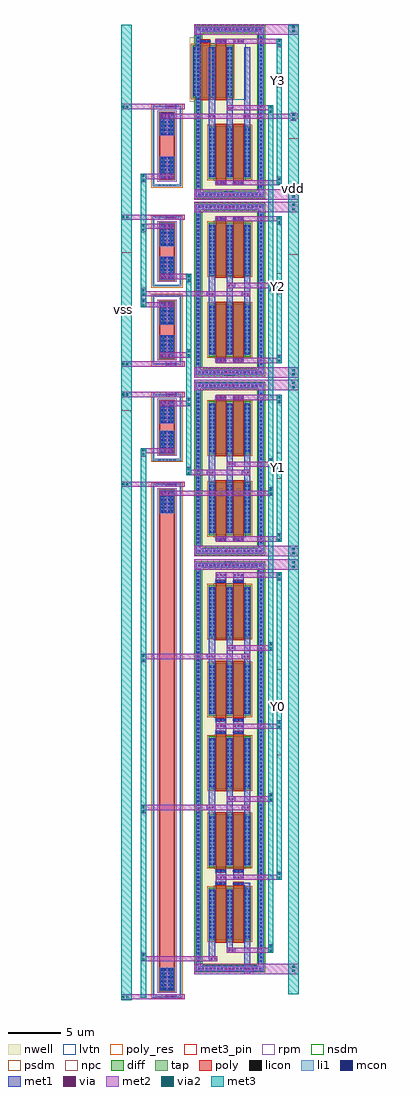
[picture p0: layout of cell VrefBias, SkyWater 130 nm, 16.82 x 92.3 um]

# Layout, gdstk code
from math import pi, radians
import gdstk
lib = gdstk.Library(unit=1e-6, precision=5e-09)
def R(c, l, rs):  # rectangles x0, y0, x1, y1
    for r in rs: c.add(gdstk.rectangle(r[:2], r[2:], *l))
def A(c, l, x, y, w, h, nx, ny, dx, dy):  # array of equal rectangles
    R(c, l, [(x+i*dx, y+j*dy, x+i*dx+w, y+j*dy+h) for i in range(nx) for j in range(ny)])
def P(c, l, *ps):  # polygons
    for p in ps: c.add(gdstk.Polygon(p, *l))
nwell = (64, 20)
diff = (65, 20)
tap = (65, 44)
poly_res = (66, 13)
poly = (66, 20)
licon = (66, 44)
li1 = (67, 20)
mcon = (67, 44)
met1 = (68, 20)
via = (68, 44)
met2 = (69, 20)
via2 = (69, 44)
met3_pin = (70, 16)
met3 = (70, 20)
rpm = (86, 20)
nsdm = (93, 44)
psdm = (94, 20)
npc = (95, 20)
lvtn = (125, 44)

res_poly_2 = lib.new_cell('res_poly$2')
R(res_poly_2, tap, [(-1.355,-24.31,1.355,-24.14), (-1.355,-24.14,-1.185,24.14), (1.185,-24.14,1.355,24.14), (-1.355,24.14,1.355,24.31)])
R(res_poly_2, poly_res, [(-0.705,-21.56,0.705,21.56)])
R(res_poly_2, poly, [(-0.705,-23.66,0.705,23.66)])
A(res_poly_2, licon, -0.765, -24.31, 0.17, 0.17, 5, 2, 0.34, 48.45)
A(res_poly_2, licon, -1.355, -23.545, 0.17, 0.17, 1, 139, 0, 0.34)
A(res_poly_2, licon, 1.185, -23.545, 0.17, 0.17, 1, 139, 0, 0.34)
R(res_poly_2, licon, [(-0.45,-23.58,-0.26,-21.58), (0.26,-23.58,0.45,-21.58), (-0.45,21.58,-0.26,23.58), (0.26,21.58,0.45,23.58)])
R(res_poly_2, li1, [(-1.355,-24.31,1.355,-24.14), (-1.355,-24.14,-1.185,24.14), (1.185,-24.14,1.355,24.14), (-0.705,-23.66,0.705,-21.5), (-0.705,21.5,0.705,23.66), (-1.355,24.14,1.355,24.31)])
A(res_poly_2, mcon, -0.625, -23.56, 0.17, 0.17, 4, 6, 0.36, 0.36)
A(res_poly_2, mcon, -0.625, 21.595, 0.17, 0.17, 4, 6, 0.36, 0.36)
R(res_poly_2, met1, [(-0.655,-23.63,0.655,-21.525), (-0.655,21.525,0.655,23.63)])
R(res_poly_2, rpm, [(-0.905,-23.86,0.905,23.86)])
R(res_poly_2, psdm, [(-1.48,-24.435,1.48,24.435)])
R(res_poly_2, npc, [(-0.8,-23.755,0.8,23.755)])

guard_ring_gen = lib.new_cell('guard_ring_gen')
P(guard_ring_gen, tap, [(-0.5,-0.5),(-0.5,15.145),(0,15.145),(0,0),(5.44,0),(5.44,15.145),(-0.5,15.145),(-0.5,15.645),(5.94,15.645),(5.94,-0.5)])
A(guard_ring_gen, licon, -0.245, -0.335, 0.17, 0.17, 17, 2, 0.36, 15.645)
A(guard_ring_gen, licon, -0.335, 0.47, 0.17, 0.17, 1, 40, 0, 0.36)
A(guard_ring_gen, licon, 5.605, 0.47, 0.17, 0.17, 1, 40, 0, 0.36)
P(guard_ring_gen, li1, [(-0.5,-0.5),(-0.5,15.145),(0,15.145),(0,0),(5.44,0),(5.44,15.145),(-0.5,15.145),(-0.5,15.645),(5.94,15.645),(5.94,-0.5)])
A(guard_ring_gen, mcon, -0.245, -0.335, 0.17, 0.17, 17, 2, 0.36, 15.645)
A(guard_ring_gen, mcon, -0.335, 0.47, 0.17, 0.17, 1, 40, 0, 0.36)
A(guard_ring_gen, mcon, 5.605, 0.47, 0.17, 0.17, 1, 40, 0, 0.36)
P(guard_ring_gen, met1, [(-0.5,-0.5),(-0.5,15.145),(0,15.145),(0,0),(5.44,0),(5.44,15.145),(-0.5,15.145),(-0.5,15.645),(5.94,15.645),(5.94,-0.5)])
P(guard_ring_gen, nsdm, [(-0.625,-0.625),(-0.625,15.02),(0.125,15.02),(0.125,0.125),(5.315,0.125),(5.315,15.02),(-0.625,15.02),(-0.625,15.77),(6.065,15.77),(6.065,-0.625)])

pfet = lib.new_cell('pfet')
R(pfet, nwell, [(-0.305,-0.38,2.625,5.72)])
R(pfet, diff, [(0,0,2.32,5)])
R(pfet, poly, [(0.66,-0.2,1.66,5.2), (0.66,5.2,1.66,5.53)])
A(pfet, licon, 0.065, 0.255, 0.17, 0.17, 1, 13, 0, 0.36)
A(pfet, licon, 0.425, 0.255, 0.17, 0.17, 1, 13, 0, 0.36)
A(pfet, licon, 1.725, 0.255, 0.17, 0.17, 1, 13, 0, 0.36)
A(pfet, licon, 2.085, 0.255, 0.17, 0.17, 1, 13, 0, 0.36)
A(pfet, licon, 0.715, 5.28, 0.17, 0.17, 3, 1, 0.36, 0)
R(pfet, li1, [(0.065,0.175,0.595,4.825), (1.725,0.175,2.255,4.825), (0.635,5.28,1.685,5.45)])
A(pfet, mcon, 0.065, 0.255, 0.17, 0.17, 1, 13, 0, 0.36)
A(pfet, mcon, 0.425, 0.255, 0.17, 0.17, 1, 13, 0, 0.36)
A(pfet, mcon, 1.725, 0.255, 0.17, 0.17, 1, 13, 0, 0.36)
A(pfet, mcon, 2.085, 0.255, 0.17, 0.17, 1, 13, 0, 0.36)
A(pfet, mcon, 0.715, 5.28, 0.17, 0.17, 3, 1, 0.36, 0)
R(pfet, met1, [(0.035,0.195,0.625,4.805), (1.695,0.195,2.285,4.805), (0.655,5.25,1.665,5.48)])
R(pfet, psdm, [(-0.125,-0.125,2.445,5.125)])
R(pfet, npc, [(0.65,5.19,1.67,5.54)])
R(pfet, lvtn, [(0.48,-0.18,1.84,5.18)])

vias_gen_6 = lib.new_cell('vias_gen$6')
R(vias_gen_6, met2, [(0,0,0.8,0.5)])
R(vias_gen_6, via2, [(0.1,0.15,0.3,0.35), (0.5,0.15,0.7,0.35)])
R(vias_gen_6, met3, [(0,0,0.8,0.5)])

vias_gen_1 = lib.new_cell('vias_gen$1')
R(vias_gen_1, met1, [(0,0,1,0.5)])
A(vias_gen_1, via, 0.105, 0.175, 0.15, 0.15, 3, 1, 0.32, 0)
R(vias_gen_1, met2, [(0,0,1,0.5)])

vias_gen_2 = lib.new_cell('vias_gen$2')
R(vias_gen_2, li1, [(0,0,1,0.5)])
R(vias_gen_2, mcon, [(0.235,0.165,0.405,0.335), (0.595,0.165,0.765,0.335)])
R(vias_gen_2, met1, [(0,0,1,0.5)])
A(vias_gen_2, via, 0.105, 0.175, 0.15, 0.15, 3, 1, 0.32, 0)
R(vias_gen_2, met2, [(0,0,1,0.5)])

res_poly_4 = lib.new_cell('res_poly$4')
R(res_poly_4, tap, [(-1.355,-3.16,1.355,-2.99), (-1.355,-2.99,-1.185,2.99), (1.185,-2.99,1.355,2.99), (-1.355,2.99,1.355,3.16)])
R(res_poly_4, poly_res, [(-0.705,-0.41,0.705,0.41)])
R(res_poly_4, poly, [(-0.705,-2.51,0.705,2.51)])
A(res_poly_4, licon, -0.765, -3.16, 0.17, 0.17, 5, 2, 0.34, 6.15)
A(res_poly_4, licon, -1.355, -2.295, 0.17, 0.17, 1, 14, 0, 0.34)
A(res_poly_4, licon, 1.185, -2.295, 0.17, 0.17, 1, 14, 0, 0.34)
R(res_poly_4, licon, [(-0.45,-2.43,-0.26,-0.43), (0.26,-2.43,0.45,-0.43), (-0.45,0.43,-0.26,2.43), (0.26,0.43,0.45,2.43)])
R(res_poly_4, li1, [(-1.355,-3.16,1.355,-2.99), (-1.355,-2.99,-1.185,2.99), (1.185,-2.99,1.355,2.99), (-0.705,-2.51,0.705,-0.35), (-0.705,0.35,0.705,2.51), (-1.355,2.99,1.355,3.16)])
A(res_poly_4, mcon, -0.625, -2.41, 0.17, 0.17, 4, 6, 0.36, 0.36)
A(res_poly_4, mcon, -0.625, 0.445, 0.17, 0.17, 4, 6, 0.36, 0.36)
R(res_poly_4, met1, [(-0.655,-2.48,0.655,-0.375), (-0.655,0.375,0.655,2.48)])
R(res_poly_4, rpm, [(-0.905,-2.71,0.905,2.71)])
R(res_poly_4, psdm, [(-1.48,-3.285,1.48,3.285)])
R(res_poly_4, npc, [(-0.8,-2.605,0.8,2.605)])

res_poly_3 = lib.new_cell('res_poly$3')
R(res_poly_3, tap, [(-1.355,-3.81,1.355,-3.64), (-1.355,-3.64,-1.185,3.64), (1.185,-3.64,1.355,3.64), (-1.355,3.64,1.355,3.81)])
R(res_poly_3, poly_res, [(-0.705,-1.06,0.705,1.06)])
R(res_poly_3, poly, [(-0.705,-3.16,0.705,3.16)])
A(res_poly_3, licon, -0.765, -3.81, 0.17, 0.17, 5, 2, 0.34, 7.45)
A(res_poly_3, licon, -1.355, -2.975, 0.17, 0.17, 1, 18, 0, 0.34)
A(res_poly_3, licon, 1.185, -2.975, 0.17, 0.17, 1, 18, 0, 0.34)
R(res_poly_3, licon, [(-0.45,-3.08,-0.26,-1.08), (0.26,-3.08,0.45,-1.08), (-0.45,1.08,-0.26,3.08), (0.26,1.08,0.45,3.08)])
R(res_poly_3, li1, [(-1.355,-3.81,1.355,-3.64), (-1.355,-3.64,-1.185,3.64), (1.185,-3.64,1.355,3.64), (-0.705,-3.16,0.705,-1), (-0.705,1,0.705,3.16), (-1.355,3.64,1.355,3.81)])
A(res_poly_3, mcon, -0.625, -3.06, 0.17, 0.17, 4, 6, 0.36, 0.36)
A(res_poly_3, mcon, -0.625, 1.095, 0.17, 0.17, 4, 6, 0.36, 0.36)
R(res_poly_3, met1, [(-0.655,-3.13,0.655,-1.025), (-0.655,1.025,0.655,3.13)])
R(res_poly_3, rpm, [(-0.905,-3.36,0.905,3.36)])
R(res_poly_3, psdm, [(-1.48,-3.935,1.48,3.935)])
R(res_poly_3, npc, [(-0.8,-3.255,0.8,3.255)])

res_poly = lib.new_cell('res_poly')
R(res_poly, tap, [(-1.355,-3.31,1.355,-3.14), (-1.355,-3.14,-1.185,3.14), (1.185,-3.14,1.355,3.14), (-1.355,3.14,1.355,3.31)])
R(res_poly, poly_res, [(-0.705,-0.56,0.705,0.56)])
R(res_poly, poly, [(-0.705,-2.66,0.705,2.66)])
A(res_poly, licon, -0.765, -3.31, 0.17, 0.17, 5, 2, 0.34, 6.45)
A(res_poly, licon, -1.355, -2.465, 0.17, 0.17, 1, 15, 0, 0.34)
A(res_poly, licon, 1.185, -2.465, 0.17, 0.17, 1, 15, 0, 0.34)
R(res_poly, licon, [(-0.45,-2.58,-0.26,-0.58), (0.26,-2.58,0.45,-0.58), (-0.45,0.58,-0.26,2.58), (0.26,0.58,0.45,2.58)])
R(res_poly, li1, [(-1.355,-3.31,1.355,-3.14), (-1.355,-3.14,-1.185,3.14), (1.185,-3.14,1.355,3.14), (-0.705,-2.66,0.705,-0.5), (-0.705,0.5,0.705,2.66), (-1.355,3.14,1.355,3.31)])
A(res_poly, mcon, -0.625, -2.56, 0.17, 0.17, 4, 6, 0.36, 0.36)
A(res_poly, mcon, -0.625, 0.595, 0.17, 0.17, 4, 6, 0.36, 0.36)
R(res_poly, met1, [(-0.655,-2.63,0.655,-0.525), (-0.655,0.525,0.655,2.63)])
R(res_poly, rpm, [(-0.905,-2.86,0.905,2.86)])
R(res_poly, psdm, [(-1.48,-3.435,1.48,3.435)])
R(res_poly, npc, [(-0.8,-2.755,0.8,2.755)])

pfet_1 = lib.new_cell('pfet$1')
R(pfet_1, nwell, [(-0.305,-0.38,4.125,5.72)])
R(pfet_1, diff, [(0,0,3.82,5)])
R(pfet_1, poly, [(0.66,-0.2,1.66,5.2), (2.16,-0.2,3.16,5.2), (0.66,5.2,1.66,5.53), (2.16,5.2,3.16,5.53)])
A(pfet_1, licon, 0.065, 0.255, 0.17, 0.17, 1, 13, 0, 0.36)
A(pfet_1, licon, 0.425, 0.255, 0.17, 0.17, 3, 13, 1.4, 0.36)
A(pfet_1, licon, 3.585, 0.255, 0.17, 0.17, 1, 13, 0, 0.36)
A(pfet_1, licon, 0.715, 5.28, 0.17, 0.17, 3, 1, 0.36, 0)
A(pfet_1, licon, 2.215, 5.28, 0.17, 0.17, 3, 1, 0.36, 0)
R(pfet_1, li1, [(0.065,0.175,0.595,4.825), (1.825,0.175,1.995,4.825), (3.225,0.175,3.755,4.825), (0.635,5.28,1.685,5.45), (2.135,5.28,3.185,5.45)])
A(pfet_1, mcon, 0.065, 0.255, 0.17, 0.17, 1, 13, 0, 0.36)
A(pfet_1, mcon, 0.425, 0.255, 0.17, 0.17, 3, 13, 1.4, 0.36)
A(pfet_1, mcon, 3.585, 0.255, 0.17, 0.17, 1, 13, 0, 0.36)
A(pfet_1, mcon, 0.715, 5.28, 0.17, 0.17, 3, 1, 0.36, 0)
A(pfet_1, mcon, 2.215, 5.28, 0.17, 0.17, 3, 1, 0.36, 0)
R(pfet_1, met1, [(0.035,0.195,0.625,4.805), (1.795,0.195,2.025,4.805), (3.195,0.195,3.785,4.805), (0.655,5.25,1.665,5.48), (2.155,5.25,3.165,5.48)])
R(pfet_1, psdm, [(-0.125,-0.125,3.945,5.125)])
R(pfet_1, npc, [(0.65,5.19,1.67,5.54), (2.15,5.19,3.17,5.54)])
R(pfet_1, lvtn, [(0.48,-0.18,3.34,5.18)])

vias_gen = lib.new_cell('vias_gen')
R(vias_gen, met1, [(0,0,0.64,0.5)])
R(vias_gen, via, [(0.085,0.175,0.235,0.325), (0.405,0.175,0.555,0.325)])
R(vias_gen, met2, [(0,0,0.64,0.5)])

vias_gen_7 = lib.new_cell('vias_gen$7')
R(vias_gen_7, met1, [(0,0,0.8,0.5)])
R(vias_gen_7, via, [(0.165,0.175,0.315,0.325), (0.485,0.175,0.635,0.325)])
R(vias_gen_7, met2, [(0,0,0.8,0.5)])

guard_ring_gen_5 = lib.new_cell('guard_ring_gen$5')
P(guard_ring_gen_5, tap, [(-0.5,-0.5),(-0.5,37.635),(0,37.635),(0,0),(5.44,0),(5.44,37.635),(-0.5,37.635),(-0.5,38.135),(5.94,38.135),(5.94,-0.5)])
A(guard_ring_gen_5, licon, -0.245, -0.335, 0.17, 0.17, 17, 2, 0.36, 38.135)
A(guard_ring_gen_5, licon, -0.335, 0.375, 0.17, 0.17, 1, 103, 0, 0.36)
A(guard_ring_gen_5, licon, 5.605, 0.375, 0.17, 0.17, 1, 103, 0, 0.36)
P(guard_ring_gen_5, li1, [(-0.5,-0.5),(-0.5,37.635),(0,37.635),(0,0),(5.44,0),(5.44,37.635),(-0.5,37.635),(-0.5,38.135),(5.94,38.135),(5.94,-0.5)])
A(guard_ring_gen_5, mcon, -0.245, -0.335, 0.17, 0.17, 17, 2, 0.36, 38.135)
A(guard_ring_gen_5, mcon, -0.335, 0.375, 0.17, 0.17, 1, 103, 0, 0.36)
A(guard_ring_gen_5, mcon, 5.605, 0.375, 0.17, 0.17, 1, 103, 0, 0.36)
P(guard_ring_gen_5, met1, [(-0.5,-0.5),(-0.5,37.635),(0,37.635),(0,0),(5.44,0),(5.44,37.635),(-0.5,37.635),(-0.5,38.135),(5.94,38.135),(5.94,-0.5)])
P(guard_ring_gen_5, nsdm, [(-0.625,-0.625),(-0.625,37.51),(0.125,37.51),(0.125,0.125),(5.315,0.125),(5.315,37.51),(-0.625,37.51),(-0.625,38.26),(6.065,38.26),(6.065,-0.625)])

vrefbias = lib.new_cell('VrefBias')
R(vrefbias, nwell, [(182.565,119.77,189.255,158.645), (183.615,128.515,188.205,129.015), (183.615,142.81,188.205,143.31), (182.565,159.245,189.255,175.65), (176.64,174.615,177.87,174.675), (182.565,176.15,189.255,192.545), (182.565,192.945,189.255,209.34)])
R(vrefbias, met3_pin, [(190.355,140.325,190.855,148.455), (190.355,166.47,190.855,168.915), (175.64,172.885,176.64,187.89), (190.355,183.92,190.855,185.9), (191.46,187.645,192.46,198.66), (190.355,203.465,190.855,204.83)])
R(vrefbias, lvtn, [(184.4,122.615,187.42,127.975), (184.4,129.555,187.42,134.915), (184.4,136.91,187.42,142.27), (184.4,143.85,187.42,149.21), (184.4,151.205,187.42,156.565), (184.4,160.935,187.42,166.295), (184.4,168.59,187.42,173.95), (184.4,177.84,187.42,183.2), (184.4,185.495,187.42,190.855), (184.4,194.635,187.42,199.995), (184.4,202.29,187.42,207.65)])
vrefbias.add(gdstk.FlexPath([(186.23,128.16),(187.865,128.16)], 0.2, ends="flush", simple_path=True, layer=68, datatype=20))  # met1
vrefbias.add(gdstk.FlexPath([(187.57,119.595),(187.57,128.26)], 0.59, ends="flush", simple_path=True, layer=68, datatype=20))  # met1
vrefbias.add(gdstk.FlexPath([(184.25,173.575),(184.25,161.31)], 0.59, ends="flush", simple_path=True, layer=68, datatype=20))  # met1
vrefbias.add(gdstk.FlexPath([(185.91,173.575),(185.91,161.31)], 0.59, ends="flush", simple_path=True, layer=68, datatype=20))  # met1
vrefbias.add(gdstk.FlexPath([(187.57,173.575),(187.57,161.31)], 0.59, ends="flush", simple_path=True, layer=68, datatype=20))  # met1
vrefbias.add(gdstk.FlexPath([(185.91,190.48),(185.91,178.215)], 0.59, ends="flush", simple_path=True, layer=68, datatype=20))  # met1
vrefbias.add(gdstk.FlexPath([(187.57,190.48),(187.57,178.215)], 0.59, ends="flush", simple_path=True, layer=68, datatype=20))  # met1
vrefbias.add(gdstk.FlexPath([(184.25,207.275),(184.25,195.01)], 0.59, ends="flush", simple_path=True, layer=68, datatype=20))  # met1
vrefbias.add(gdstk.FlexPath([(185.91,207.275),(185.91,195.01)], 0.59, ends="flush", simple_path=True, layer=68, datatype=20))  # met1
vrefbias.add(gdstk.FlexPath([(187.57,207.275),(187.57,195.01)], 0.59, ends="flush", simple_path=True, layer=68, datatype=20))  # met1
vrefbias.add(gdstk.FlexPath([(184.25,190.48),(184.25,178.215)], 0.59, ends="flush", simple_path=True, layer=68, datatype=20))  # met1
vrefbias.add(gdstk.FlexPath([(185.085,156.635),(185.085,157.605)], 1, ends="flush", simple_path=True, layer=68, datatype=20))  # met1
vrefbias.add(gdstk.FlexPath([(186.745,156.635),(186.745,157.605)], 1, ends="flush", simple_path=True, layer=68, datatype=20))  # met1
vrefbias.add(gdstk.FlexPath([(185.075,143.78),(185.075,142.34)], 1, ends="flush", simple_path=True, layer=68, datatype=20))  # met1
vrefbias.add(gdstk.FlexPath([(186.735,143.78),(186.735,142.34)], 1, ends="flush", simple_path=True, layer=68, datatype=20))  # met1
vrefbias.add(gdstk.FlexPath([(184.25,156.19),(184.25,144.225)], 0.59, ends="flush", simple_path=True, layer=68, datatype=20))  # met1
vrefbias.add(gdstk.FlexPath([(185.91,156.19),(185.91,144.225)], 0.59, ends="flush", simple_path=True, layer=68, datatype=20))  # met1
vrefbias.add(gdstk.FlexPath([(187.57,156.19),(187.57,144.225)], 0.59, ends="flush", simple_path=True, layer=68, datatype=20))  # met1
vrefbias.add(gdstk.FlexPath([(184.25,141.895),(184.25,129.93)], 0.59, ends="flush", simple_path=True, layer=68, datatype=20))  # met1
vrefbias.add(gdstk.FlexPath([(185.91,141.895),(185.91,129.93)], 0.59, ends="flush", simple_path=True, layer=68, datatype=20))  # met1
vrefbias.add(gdstk.FlexPath([(187.57,141.895),(187.57,129.93)], 0.59, ends="flush", simple_path=True, layer=68, datatype=20))  # met1
vrefbias.add(gdstk.FlexPath([(184.25,127.6),(184.25,120.82)], 0.59, ends="flush", simple_path=True, layer=68, datatype=20))  # met1
vrefbias.add(gdstk.FlexPath([(185.91,127.6),(185.91,121.62)], 0.59, ends="flush", simple_path=True, layer=68, datatype=20))  # met1
vrefbias.add(gdstk.FlexPath([(185.075,129.485),(185.075,128.045)], 1, ends="flush", simple_path=True, layer=68, datatype=20))  # met1
vrefbias.add(gdstk.FlexPath([(186.735,129.485),(186.735,128.515)], 1, ends="flush", simple_path=True, layer=68, datatype=20))  # met1
vrefbias.add(gdstk.FlexPath([(182.565,208.965),(192.46,208.965)], 1, ends="flush", simple_path=True, layer=69, datatype=20))  # met2
vrefbias.add(gdstk.FlexPath([(182.565,192.14),(192.46,192.14)], 1, ends="flush", simple_path=True, layer=69, datatype=20))  # met2
vrefbias.add(gdstk.FlexPath([(182.565,175.31),(192.46,175.31)], 1, ends="flush", simple_path=True, layer=69, datatype=20))  # met2
vrefbias.add(gdstk.FlexPath([(182.565,158.335),(192.46,158.335)], 1, ends="flush", simple_path=True, layer=69, datatype=20))  # met2
vrefbias.add(gdstk.FlexPath([(182.565,120.095),(192.46,120.095)], 1, ends="flush", simple_path=True, layer=69, datatype=20))  # met2
vrefbias.add(gdstk.FlexPath([(181.68,201.655),(175.64,201.655)], 0.5, ends="flush", simple_path=True, layer=69, datatype=20))  # met2
vrefbias.add(gdstk.FlexPath([(181.68,191.185),(175.64,191.185)], 0.5, ends="flush", simple_path=True, layer=69, datatype=20))  # met2
vrefbias.add(gdstk.FlexPath([(181.68,177.31),(175.64,177.31)], 0.5, ends="flush", simple_path=True, layer=69, datatype=20))  # met2
vrefbias.add(gdstk.FlexPath([(181.68,174.425),(175.64,174.425)], 0.5, ends="flush", simple_path=True, layer=69, datatype=20))  # met2
vrefbias.add(gdstk.FlexPath([(181.68,165.93),(175.64,165.93)], 0.5, ends="flush", simple_path=True, layer=69, datatype=20))  # met2
vrefbias.add(gdstk.FlexPath([(181.68,117.48),(175.64,117.48)], 0.5, ends="flush", simple_path=True, layer=69, datatype=20))  # met2
vrefbias.add(gdstk.FlexPath([(179.33,200.745),(192.46,200.745)], 0.5, ends="flush", simple_path=True, layer=69, datatype=20))  # met2
vrefbias.add(gdstk.FlexPath([(182.565,193.33),(192.46,193.33)], 1, ends="flush", simple_path=True, layer=69, datatype=20))  # met2
vrefbias.add(gdstk.FlexPath([(182.565,176.515),(192.46,176.515)], 1, ends="flush", simple_path=True, layer=69, datatype=20))  # met2
vrefbias.add(gdstk.FlexPath([(182.565,159.61),(192.46,159.61)], 1, ends="flush", simple_path=True, layer=69, datatype=20))  # met2
vrefbias.add(gdstk.FlexPath([(185.615,201.54),(190.055,201.54)], 0.5, ends="flush", simple_path=True, layer=69, datatype=20))  # met2
vrefbias.add(gdstk.FlexPath([(185.615,184.745),(190.055,184.745)], 0.5, ends="flush", simple_path=True, layer=69, datatype=20))  # met2
vrefbias.add(gdstk.FlexPath([(185.615,167.84),(190.055,167.84)], 0.5, ends="flush", simple_path=True, layer=69, datatype=20))  # met2
vrefbias.add(gdstk.FlexPath([(185.615,150.46),(190.055,150.46)], 0.5, ends="flush", simple_path=True, layer=69, datatype=20))  # met2
vrefbias.add(gdstk.FlexPath([(185.615,136.165),(190.055,136.165)], 0.5, ends="flush", simple_path=True, layer=69, datatype=20))  # met2
vrefbias.add(gdstk.FlexPath([(185.615,121.87),(190.055,121.87)], 0.5, ends="flush", simple_path=True, layer=69, datatype=20))  # met2
vrefbias.add(gdstk.FlexPath([(179.33,165.09),(190.055,165.09)], 0.5, ends="flush", simple_path=True, layer=69, datatype=20))  # met2
vrefbias.add(gdstk.FlexPath([(184.575,207.835),(190.855,207.835)], 0.5, ends="flush", simple_path=True, layer=69, datatype=20))  # met2
vrefbias.add(gdstk.FlexPath([(184.575,194.45),(190.855,194.45)], 0.5, ends="flush", simple_path=True, layer=69, datatype=20))  # met2
vrefbias.add(gdstk.FlexPath([(184.575,191.04),(190.855,191.04)], 0.5, ends="flush", simple_path=True, layer=69, datatype=20))  # met2
vrefbias.add(gdstk.FlexPath([(184.575,177.655),(190.855,177.655)], 0.5, ends="flush", simple_path=True, layer=69, datatype=20))  # met2
vrefbias.add(gdstk.FlexPath([(184.575,174.135),(190.855,174.135)], 0.5, ends="flush", simple_path=True, layer=69, datatype=20))  # met2
vrefbias.add(gdstk.FlexPath([(184.575,160.75),(190.855,160.75)], 0.5, ends="flush", simple_path=True, layer=69, datatype=20))  # met2
vrefbias.add(gdstk.FlexPath([(184.585,157.355),(190.855,157.355)], 0.5, ends="flush", simple_path=True, layer=69, datatype=20))  # met2
vrefbias.add(gdstk.FlexPath([(184.575,143.06),(190.855,143.06)], 0.5, ends="flush", simple_path=True, layer=69, datatype=20))  # met2
vrefbias.add(gdstk.FlexPath([(190.855,128.765),(184.575,128.765)], 0.5, ends="flush", simple_path=True, layer=69, datatype=20))  # met2
vrefbias.add(gdstk.FlexPath([(177.505,183.95),(187.865,183.95)], 0.5, ends="flush", simple_path=True, layer=69, datatype=20))  # met2
vrefbias.add(gdstk.FlexPath([(181.785,167.045),(187.865,167.045)], 0.5, ends="flush", simple_path=True, layer=69, datatype=20))  # met2
vrefbias.add(gdstk.FlexPath([(182.285,178.165),(179.36,178.165)], 0.5, ends="flush", simple_path=True, layer=69, datatype=20))  # met2
vrefbias.add(gdstk.FlexPath([(177.505,195.05),(180.64,195.05)], 0.5, ends="flush", simple_path=True, layer=69, datatype=20))  # met2
vrefbias.add(gdstk.FlexPath([(177.505,190.34),(180.64,190.34)], 0.5, ends="flush", simple_path=True, layer=69, datatype=20))  # met2
vrefbias.add(gdstk.FlexPath([(177.505,182.915),(180.64,182.915)], 0.5, ends="flush", simple_path=True, layer=69, datatype=20))  # met2
vrefbias.add(gdstk.FlexPath([(179.33,185.58),(182.285,185.58)], 0.5, ends="flush", simple_path=True, layer=69, datatype=20))  # met2
vrefbias.add(gdstk.FlexPath([(182.255,173.565),(179.33,173.565)], 0.5, ends="flush", simple_path=True, layer=69, datatype=20))  # met2
vrefbias.add(gdstk.FlexPath([(177.505,149.66),(187.865,149.66)], 0.5, ends="flush", simple_path=True, layer=69, datatype=20))  # met2
vrefbias.add(gdstk.FlexPath([(177.505,135.365),(187.865,135.365)], 0.5, ends="flush", simple_path=True, layer=69, datatype=20))  # met2
vrefbias.add(gdstk.FlexPath([(177.505,121.07),(184.755,121.07)], 0.5, ends="flush", simple_path=True, layer=69, datatype=20))  # met2
vrefbias.add(gdstk.FlexPath([(180.64,169.11),(177.505,169.11)], 0.5, ends="flush", simple_path=True, layer=69, datatype=20))  # met2
vrefbias.add(gdstk.FlexPath([(176.14,209.385),(176.14,117.165)], 1, ends="flush", simple_path=True, layer=70, datatype=20))  # met3
vrefbias.add(gdstk.FlexPath([(191.96,209.385),(191.96,117.72)], 1, ends="flush", simple_path=True, layer=70, datatype=20))  # met3
vrefbias.add(gdstk.FlexPath([(189.805,201.79),(189.805,121.62)], 0.5, ends="flush", simple_path=True, layer=70, datatype=20))  # met3
vrefbias.add(gdstk.FlexPath([(190.605,208.085),(190.605,194.2)], 0.5, ends="flush", simple_path=True, layer=70, datatype=20))  # met3
vrefbias.add(gdstk.FlexPath([(190.605,191.29),(190.605,177.405)], 0.5, ends="flush", simple_path=True, layer=70, datatype=20))  # met3
vrefbias.add(gdstk.FlexPath([(190.605,174.385),(190.605,160.5)], 0.5, ends="flush", simple_path=True, layer=70, datatype=20))  # met3
vrefbias.add(gdstk.FlexPath([(190.605,157.605),(190.605,128.515)], 0.5, ends="flush", simple_path=True, layer=70, datatype=20))  # met3
vrefbias.add(gdstk.FlexPath([(182.035,185.83),(182.035,166.795)], 0.5, ends="flush", simple_path=True, layer=70, datatype=20))  # met3
vrefbias.add(gdstk.FlexPath([(177.755,195.3),(177.755,182.665)], 0.5, ends="flush", simple_path=True, layer=70, datatype=20))  # met3
vrefbias.add(gdstk.FlexPath([(177.755,169.36),(177.755,117.365)], 0.5, ends="flush", simple_path=True, layer=70, datatype=20))  # met3
vrefbias.add(gdstk.Reference(res_poly_2, (179.985,141.71), x_reflection=True))
vrefbias.add(gdstk.Reference(guard_ring_gen, (183.19,159.87)))
vrefbias.add(gdstk.Reference(pfet, (187.9,166.115), rotation=pi))
vrefbias.add(gdstk.Reference(pfet, (186.24,166.115), rotation=pi))
vrefbias.add(gdstk.Reference(vias_gen_6, (192.195,191.76), rotation=pi/2))
vrefbias.add(gdstk.Reference(vias_gen_1, (186.41,175.56), rotation=pi))
vrefbias.add(gdstk.Reference(vias_gen_6, (192.195,174.93), rotation=pi/2))
vrefbias.add(gdstk.Reference(vias_gen_2, (179.87,201.405)))
vrefbias.add(gdstk.Reference(vias_gen_6, (175.64,201.405)))
vrefbias.add(gdstk.Reference(vias_gen_2, (179.87,190.935)))
vrefbias.add(gdstk.Reference(vias_gen_6, (175.64,190.935)))
vrefbias.add(gdstk.Reference(vias_gen_1, (186.41,209.215), rotation=pi))
vrefbias.add(gdstk.Reference(vias_gen_6, (192.195,208.585), rotation=pi/2))
vrefbias.add(gdstk.Reference(vias_gen_1, (186.41,192.39), rotation=pi))
vrefbias.add(gdstk.Reference(vias_gen_2, (179.87,177.06)))
vrefbias.add(gdstk.Reference(vias_gen_6, (175.64,177.06)))
vrefbias.add(gdstk.Reference(vias_gen_2, (179.87,174.175)))
vrefbias.add(gdstk.Reference(vias_gen_6, (175.64,174.175)))
vrefbias.add(gdstk.Reference(vias_gen_2, (179.87,165.68)))
vrefbias.add(gdstk.Reference(vias_gen_6, (175.64,165.68)))
vrefbias.add(gdstk.Reference(vias_gen_6, (192.195,200.295), rotation=pi/2))
vrefbias.add(gdstk.Reference(vias_gen_1, (186.41,193.58), rotation=pi))
vrefbias.add(gdstk.Reference(pfet, (187.9,185.675), rotation=pi, x_reflection=True))
vrefbias.add(gdstk.Reference(vias_gen_6, (192.195,192.95), rotation=pi/2))
vrefbias.add(gdstk.Reference(vias_gen_1, (186.41,176.765), rotation=pi))
vrefbias.add(gdstk.Reference(pfet, (186.24,183.02), rotation=pi))
vrefbias.add(gdstk.Reference(pfet, (187.9,168.77), rotation=pi, x_reflection=True))
vrefbias.add(gdstk.Reference(vias_gen_6, (192.195,176.135), rotation=pi/2))
vrefbias.add(gdstk.Reference(pfet, (187.9,183.02), rotation=pi))
vrefbias.add(gdstk.Reference(res_poly_4, (179.985,171.34)))
vrefbias.add(gdstk.Reference(res_poly_3, (179.985,197.93)))
vrefbias.add(gdstk.Reference(res_poly, (179.985,180.535)))
vrefbias.add(gdstk.Reference(pfet_1, (186.24,202.47), rotation=pi, x_reflection=True))
vrefbias.add(gdstk.Reference(res_poly, (179.985,187.96)))
vrefbias.add(gdstk.Reference(pfet, (187.9,199.815), rotation=pi))
vrefbias.add(gdstk.Reference(pfet, (186.24,199.815), rotation=pi))
vrefbias.add(gdstk.Reference(vias_gen, (184.545,200.995), rotation=pi))
vrefbias.add(gdstk.Reference(vias_gen, (187.865,200.995), rotation=pi))
vrefbias.add(gdstk.Reference(vias_gen, (186.255,201.79), rotation=pi))
vrefbias.add(gdstk.Reference(vias_gen_1, (180.33,200.995), rotation=pi))
vrefbias.add(gdstk.Reference(vias_gen_6, (181.785,185.83), rotation=3*pi/2))
vrefbias.add(gdstk.Reference(vias_gen_6, (181.785,178.715), rotation=3*pi/2))
vrefbias.add(gdstk.Reference(vias_gen_1, (180.64,190.59), rotation=pi))
vrefbias.add(gdstk.Reference(vias_gen_1, (180.33,178.415), rotation=pi))
vrefbias.add(gdstk.Reference(vias_gen_1, (180.64,195.3), rotation=pi))
vrefbias.add(gdstk.Reference(vias_gen_1, (180.64,183.165), rotation=pi))
vrefbias.add(gdstk.Reference(vias_gen_1, (180.33,185.83), rotation=pi))
vrefbias.add(gdstk.Reference(vias_gen_6, (181.785,174.115), rotation=3*pi/2))
vrefbias.add(gdstk.Reference(vias_gen_1, (180.33,173.815), rotation=pi))
vrefbias.add(gdstk.Reference(vias_gen_1, (185.575,208.085), rotation=pi))
vrefbias.add(gdstk.Reference(guard_ring_gen, (183.19,193.57)))
vrefbias.add(gdstk.Reference(vias_gen_1, (187.235,208.085), rotation=pi))
vrefbias.add(gdstk.Reference(vias_gen_1, (185.575,194.7), rotation=pi))
vrefbias.add(gdstk.Reference(vias_gen_1, (187.235,194.7), rotation=pi))
vrefbias.add(gdstk.Reference(vias_gen_1, (185.575,191.29), rotation=pi))
vrefbias.add(gdstk.Reference(vias_gen_7, (186.415,184.995), rotation=pi))
vrefbias.add(gdstk.Reference(vias_gen_1, (187.235,191.29), rotation=pi))
vrefbias.add(gdstk.Reference(vias_gen_7, (184.545,184.2), rotation=pi))
vrefbias.add(gdstk.Reference(vias_gen_7, (187.865,184.2), rotation=pi))
vrefbias.add(gdstk.Reference(vias_gen_1, (185.58,177.905), rotation=pi))
vrefbias.add(gdstk.Reference(vias_gen_1, (187.24,177.905), rotation=pi))
vrefbias.add(gdstk.Reference(vias_gen_1, (185.575,174.385), rotation=pi))
vrefbias.add(gdstk.Reference(vias_gen_1, (187.24,174.385), rotation=pi))
vrefbias.add(gdstk.Reference(vias_gen_7, (186.415,168.09), rotation=pi))
vrefbias.add(gdstk.Reference(vias_gen_7, (184.545,167.295), rotation=pi))
vrefbias.add(gdstk.Reference(vias_gen_7, (187.865,167.295), rotation=pi))
vrefbias.add(gdstk.Reference(vias_gen_6, (181.785,167.595), rotation=3*pi/2))
vrefbias.add(gdstk.Reference(vias_gen_1, (180.64,169.36), rotation=pi))
vrefbias.add(gdstk.Reference(vias_gen_6, (190.055,200.99), rotation=pi/2))
vrefbias.add(gdstk.Reference(vias_gen_1, (180.33,165.34), rotation=pi))
vrefbias.add(gdstk.Reference(vias_gen_6, (190.055,184.195), rotation=pi/2))
vrefbias.add(gdstk.Reference(vias_gen_6, (190.055,167.59), rotation=pi/2))
vrefbias.add(gdstk.Reference(vias_gen_6, (190.055,164.84), rotation=pi/2))
vrefbias.add(gdstk.Reference(vias_gen_6, (190.855,207.285), rotation=pi/2))
vrefbias.add(gdstk.Reference(vias_gen_6, (190.855,194.2), rotation=pi/2))
vrefbias.add(gdstk.Reference(vias_gen_6, (190.855,190.49), rotation=pi/2))
vrefbias.add(gdstk.Reference(vias_gen_6, (190.855,177.405), rotation=pi/2))
vrefbias.add(gdstk.Reference(vias_gen_6, (190.855,173.585), rotation=pi/2))
vrefbias.add(gdstk.Reference(pfet, (186.24,185.675), rotation=pi, x_reflection=True))
vrefbias.add(gdstk.Reference(guard_ring_gen, (183.19,176.775)))
vrefbias.add(gdstk.Reference(pfet, (186.24,168.77), rotation=pi, x_reflection=True))
vrefbias.add(gdstk.Reference(vias_gen_6, (177.505,169.36), rotation=3*pi/2))
vrefbias.add(gdstk.Reference(vias_gen_6, (177.505,184.5), rotation=3*pi/2))
vrefbias.add(gdstk.Reference(vias_gen_6, (177.505,183.465), rotation=3*pi/2))
vrefbias.add(gdstk.Reference(vias_gen_6, (177.505,190.59), rotation=3*pi/2))
vrefbias.add(gdstk.Reference(vias_gen_6, (177.505,195.3), rotation=3*pi/2))
vrefbias.add(gdstk.Reference(vias_gen_6, (175.64,117.23)))
vrefbias.add(gdstk.Reference(vias_gen_6, (192.195,159.23), rotation=pi/2))
vrefbias.add(gdstk.Reference(vias_gen_1, (188.27,120.345), rotation=pi))
vrefbias.add(gdstk.Reference(vias_gen_6, (177.505,134.815), rotation=pi/2, x_reflection=True))
vrefbias.add(gdstk.Reference(vias_gen_1, (186.41,159.86), rotation=pi))
vrefbias.add(gdstk.Reference(vias_gen_6, (177.505,149.11), rotation=pi/2, x_reflection=True))
vrefbias.add(gdstk.Reference(vias_gen_1, (186.41,158.585), rotation=pi))
vrefbias.add(gdstk.Reference(vias_gen_6, (192.195,157.955), rotation=pi/2))
vrefbias.add(gdstk.Reference(vias_gen_1, (186.41,120.345), rotation=pi))
vrefbias.add(gdstk.Reference(vias_gen_6, (192.195,119.715), rotation=pi/2))
vrefbias.add(gdstk.Reference(vias_gen_6, (177.505,120.82), rotation=pi/2, x_reflection=True))
vrefbias.add(gdstk.Reference(vias_gen_2, (179.87,117.23)))
vrefbias.add(gdstk.Reference(vias_gen_1, (187.245,157.605), rotation=pi))
vrefbias.add(gdstk.Reference(vias_gen_1, (185.575,143.31), rotation=pi))
vrefbias.add(gdstk.Reference(vias_gen_1, (187.235,143.31), rotation=pi))
vrefbias.add(gdstk.Reference(vias_gen_1, (187.235,129.015), rotation=pi))
vrefbias.add(gdstk.Reference(vias_gen_1, (185.575,129.015), rotation=pi))
vrefbias.add(gdstk.Reference(vias_gen_7, (186.415,150.71), rotation=pi))
vrefbias.add(gdstk.Reference(vias_gen_7, (184.545,149.91), rotation=pi))
vrefbias.add(gdstk.Reference(vias_gen_7, (187.865,149.91), rotation=pi))
vrefbias.add(gdstk.Reference(vias_gen_7, (186.415,136.415), rotation=pi))
vrefbias.add(gdstk.Reference(vias_gen_7, (184.545,135.615), rotation=pi))
vrefbias.add(gdstk.Reference(vias_gen_7, (187.865,135.615), rotation=pi))
vrefbias.add(gdstk.Reference(vias_gen_7, (186.415,122.12), rotation=pi))
vrefbias.add(gdstk.Reference(vias_gen_7, (184.755,121.32), rotation=pi))
vrefbias.add(gdstk.Reference(pfet, (187.9,134.735), rotation=pi))
vrefbias.add(gdstk.Reference(pfet, (187.9,149.03), rotation=pi))
vrefbias.add(gdstk.Reference(pfet, (186.24,149.03), rotation=pi))
vrefbias.add(gdstk.Reference(vias_gen_1, (185.575,161), rotation=pi))
vrefbias.add(gdstk.Reference(vias_gen_6, (190.055,150.21), rotation=pi/2))
vrefbias.add(gdstk.Reference(vias_gen_6, (190.055,135.915), rotation=pi/2))
vrefbias.add(gdstk.Reference(vias_gen_6, (190.055,121.62), rotation=pi/2))
vrefbias.add(gdstk.Reference(pfet, (185.58,122.795)))
vrefbias.add(gdstk.Reference(pfet, (186.24,151.385), rotation=pi, x_reflection=True))
vrefbias.add(gdstk.Reference(pfet, (183.92,122.795)))
vrefbias.add(gdstk.Reference(pfet, (186.24,134.735), rotation=pi))
vrefbias.add(gdstk.Reference(vias_gen_6, (190.855,160.5), rotation=pi/2))
vrefbias.add(gdstk.Reference(vias_gen_6, (190.855,156.805), rotation=pi/2))
vrefbias.add(gdstk.Reference(vias_gen_6, (190.855,142.81), rotation=pi/2))
vrefbias.add(gdstk.Reference(vias_gen_6, (190.855,128.515), rotation=pi/2))
vrefbias.add(gdstk.Reference(pfet, (187.9,151.385), rotation=pi, x_reflection=True))
vrefbias.add(gdstk.Reference(vias_gen_1, (187.235,161), rotation=pi))
vrefbias.add(gdstk.Reference(pfet, (187.9,137.09), rotation=pi, x_reflection=True))
vrefbias.add(gdstk.Reference(pfet, (186.24,137.09), rotation=pi, x_reflection=True))
vrefbias.add(gdstk.Reference(guard_ring_gen_5, (183.19,120.395)))
vrefbias.add(gdstk.Reference(vias_gen_1, (185.585,157.605), rotation=pi))
vrefbias.add(gdstk.Label('Y3', (190.515,204.085), layer=70, texttype=16))
vrefbias.add(gdstk.Label('Y2', (190.545,184.645), layer=70, texttype=16))
vrefbias.add(gdstk.Label('Y1', (190.535,167.555), layer=70, texttype=16))
vrefbias.add(gdstk.Label('Y0', (190.495,144.955), layer=70, texttype=16))
vrefbias.add(gdstk.Label('vdd', (191.96,193.875), layer=70, texttype=16))
vrefbias.add(gdstk.Label('vss', (175.915,182.445), layer=70, texttype=16))

lib.write_gds('VrefBias.gds')
